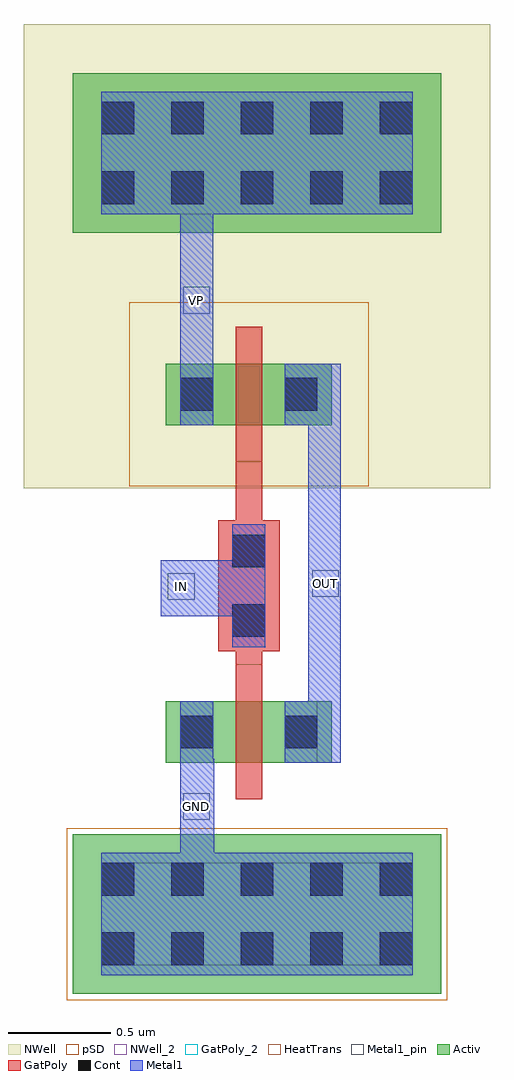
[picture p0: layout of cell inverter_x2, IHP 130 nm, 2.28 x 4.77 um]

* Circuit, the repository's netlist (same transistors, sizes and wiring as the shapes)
** sch_path: /foss/designs/CHIP-PLL/divider/inverter_x2.sch
.subckt inverter_x2 IN VP OUT GND
*.ipin IN
*.iopin VP
*.opin OUT
*.iopin GND
M1 OUT IN GND GND sg13_lv_nmos w=0.3u l=0.13u ng=1
M2 OUT IN VP VP sg13_lv_pmos w=0.3u l=0.13u ng=1
.ends

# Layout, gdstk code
import gdstk
lib = gdstk.Library(unit=1e-6, precision=1e-09)
def R(c, l, rs):  # rectangles x0, y0, x1, y1
    for r in rs: c.add(gdstk.rectangle(r[:2], r[2:], *l))
def A(c, l, x, y, w, h, nx, ny, dx, dy):  # array of equal rectangles
    R(c, l, [(x+i*dx, y+j*dy, x+i*dx+w, y+j*dy+h) for i in range(nx) for j in range(ny)])
Activ = (1, 0)
GatPoly = (5, 0)
GatPoly_2 = (5, 2)
Cont = (6, 0)
Metal1 = (8, 0)
Metal1_pin = (8, 2)
pSD = (14, 0)
NWell = (31, 0)
NWell_2 = (31, 2)
HeatTrans = (51, 0)

via = lib.new_cell('Via')
R(via, GatPoly, [(-0.15,-0.32,0.15,0.32)])
R(via, Cont, [(-0.08,-0.25,0.08,-0.09), (-0.08,0.09,0.08,0.25)])
R(via, Metal1, [(-0.08,-0.3,0.08,0.3)])

pmos = lib.new_cell('pmos')
R(pmos, Activ, [(0,0,0.3,0.3), (0,0,0.81,0.3), (0.51,0,0.81,0.3)])
R(pmos, GatPoly, [(0.34,-0.18,0.47,0.48), (0.34,-0.18,0.47,0.48)])
R(pmos, Cont, [(0.07,0.07,0.23,0.23), (0.58,0.07,0.74,0.23)])
R(pmos, Metal1, [(0.07,0,0.23,0.3), (0.07,0,0.23,0.3), (0.58,0,0.74,0.3), (0.58,0,0.74,0.3)])
R(pmos, pSD, [(-0.18,-0.3,0.99,0.6)])
R(pmos, NWell, [(-0.31,-0.31,1.12,0.61)])
R(pmos, HeatTrans, [(0.34,-0.18,0.47,0.48)])
pmos.add(gdstk.Label('pmos', (0.405,0.15), layer=63, texttype=0))
pmos.add(gdstk.Label('pmos', (0.405,0.15), layer=51, texttype=0))

nmos = lib.new_cell('nmos')
R(nmos, Activ, [(0,0,0.3,0.3), (0,0,0.81,0.3), (0.51,0,0.81,0.3)])
R(nmos, GatPoly, [(0.34,-0.18,0.47,0.48)])
R(nmos, GatPoly_2, [(0.34,-0.18,0.47,0.48)])
R(nmos, Cont, [(0.07,0.07,0.23,0.23), (0.58,0.07,0.74,0.23)])
R(nmos, Metal1, [(0.07,0,0.23,0.3), (0.58,0,0.74,0.3)])
R(nmos, Metal1_pin, [(0.07,0,0.23,0.3), (0.58,0,0.74,0.3)])
R(nmos, HeatTrans, [(0.34,-0.18,0.47,0.48)])
nmos.add(gdstk.Label('nmos', (0.405,0.15), layer=63, texttype=0))
nmos.add(gdstk.Label('nmos', (0.405,0.15), layer=51, texttype=0))

ptap = lib.new_cell('ptap')
R(ptap, Activ, [(-0.675,-1.065,0.105,-0.285)])
R(ptap, Cont, [(-0.535,-0.925,-0.375,-0.765), (-0.195,-0.925,-0.035,-0.765), (-0.535,-0.585,-0.375,-0.425), (-0.195,-0.585,-0.035,-0.425)])
R(ptap, Metal1, [(-0.535,-0.975,-0.035,-0.375)])
R(ptap, Metal1_pin, [(-0.535,-0.925,-0.035,-0.425)])
R(ptap, pSD, [(-0.705,-1.095,0.135,-0.255)])

ntap1 = lib.new_cell('ntap1')
R(ntap1, Activ, [(0,0,1.8,0.78)])
A(ntap1, Cont, 0.14, 0.14, 0.16, 0.16, 5, 2, 0.34, 0.34)
R(ntap1, Metal1, [(0.14,0.09,1.66,0.69)])
R(ntap1, Metal1_pin, [(0.14,0.09,1.66,0.69), (0.14,0.14,1.66,0.64)])
R(ntap1, NWell, [(-0.24,-0.24,2.04,1.02), (0,0,1.8,0.78)])
R(ntap1, NWell_2, [(0,0,1.8,0.78)])
ntap1.add(gdstk.Label('well', (0.9,0.01), layer=31, texttype=0))
ntap1.add(gdstk.Label('well', (0.9,0.01), layer=63, texttype=0))

inverter_x2 = lib.new_cell('inverter_x2')
A(inverter_x2, Activ, -0.72, -2.47, 0.78, 0.78, 3, 1, 0.34, 0)
R(inverter_x2, GatPoly, [(-0.265,-0.935,-0.135,-0.735), (-0.265,-0.155,-0.135,0.205)])
A(inverter_x2, Cont, -0.58, -2.33, 0.16, 0.16, 4, 2, 0.34, 0.34)
A(inverter_x2, Metal1, -0.58, -2.38, 0.5, 0.6, 3, 1, 0.34, 0)
R(inverter_x2, Metal1, [(-0.535,-1.885,-0.37,-1.32), (0.09,-1.34,0.25,-1.32), (0.09,-1.32,0.25,0.59), (-0.63,-0.625,-0.28,-0.35), (0.135,0.575,0.25,0.61), (-0.535,0.59,-0.375,1.58)])
A(inverter_x2, Metal1_pin, -0.58, -2.33, 0.5, 0.5, 3, 1, 0.34, 0)
R(inverter_x2, Metal1_pin, [(-0.52,-1.62,-0.39,-1.49), (-0.595,-0.545,-0.465,-0.415), (0.11,-0.53,0.24,-0.4), (-0.52,0.855,-0.39,0.985)])
A(inverter_x2, pSD, -0.75, -2.5, 0.84, 0.84, 3, 1, 0.34, 0)
R(inverter_x2, NWell, [(-1.3,0,0.755,2.27), (0.755,0,0.98,2.27)])
inverter_x2.add(gdstk.Reference(via, (-0.2,-0.475)))
inverter_x2.add(gdstk.Reference(pmos, (-0.605,0.31)))
inverter_x2.add(gdstk.Reference(nmos, (-0.605,-1.34)))
inverter_x2.add(gdstk.Reference(ptap, (-0.385,-1.405)))
inverter_x2.add(gdstk.Reference(ntap1, (-1.06,1.25)))
inverter_x2.add(gdstk.Label('OUT', (0.175,-0.465), layer=8, texttype=25))
inverter_x2.add(gdstk.Label('GND', (-0.455,-1.555), layer=8, texttype=25))
inverter_x2.add(gdstk.Label('VP', (-0.455,0.92), layer=8, texttype=25))
inverter_x2.add(gdstk.Label('IN', (-0.53,-0.48), layer=8, texttype=25))

lib.write_gds('inverter_x2.gds')
